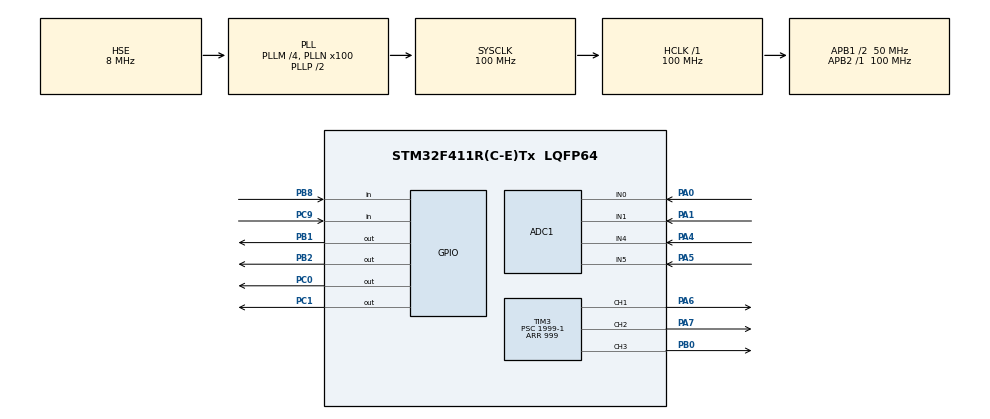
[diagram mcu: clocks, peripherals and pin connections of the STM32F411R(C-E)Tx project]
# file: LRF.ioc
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ADC1.Channel-0\#ChannelRegularConversion=ADC_CHANNEL_0
ADC1.Channel-1\#ChannelRegularConversion=ADC_CHANNEL_1
ADC1.Channel-2\#ChannelRegularConversion=ADC_CHANNEL_2
ADC1.Channel-3\#ChannelRegularConversion=ADC_CHANNEL_3
ADC1.ContinuousConvMode=ENABLE
ADC1.DMAContinuousRequests=ENABLE
ADC1.NbrOfConversion=4
ADC1.NbrOfConversionFlag=1
ADC1.Rank-0\#ChannelRegularConversion=1
ADC1.Rank-1\#ChannelRegularConversion=2
ADC1.Rank-2\#ChannelRegularConversion=3
ADC1.Rank-3\#ChannelRegularConversion=4
ADC1.SamplingTime-0\#ChannelRegularConversion=ADC_SAMPLETIME_15CYCLES
ADC1.SamplingTime-1\#ChannelRegularConversion=ADC_SAMPLETIME_15CYCLES
ADC1.SamplingTime-2\#ChannelRegularConversion=ADC_SAMPLETIME_15CYCLES
ADC1.SamplingTime-3\#ChannelRegularConversion=ADC_SAMPLETIME_15CYCLES
ADC1.master=1
Dma.ADC1.0.Direction=DMA_PERIPH_TO_MEMORY
Dma.ADC1.0.FIFOMode=DMA_FIFOMODE_DISABLE
Dma.ADC1.0.Instance=DMA2_Stream0
Dma.ADC1.0.MemDataAlignment=DMA_MDATAALIGN_HALFWORD
Dma.ADC1.0.MemInc=DMA_MINC_ENABLE
Dma.ADC1.0.Mode=DMA_CIRCULAR
Dma.ADC1.0.PeriphDataAlignment=DMA_PDATAALIGN_HALFWORD
Dma.ADC1.0.PeriphInc=DMA_PINC_DISABLE
Dma.ADC1.0.Priority=DMA_PRIORITY_LOW
Dma.Request0=ADC1
Mcu.Family=STM32F4
Mcu.Name=STM32F411R(C-E)Tx
Mcu.Package=LQFP64
NVIC.ADC_IRQn=true\:0\:0\:false\:false\:true\:true\:true\:true
NVIC.DMA2_Stream0_IRQn=true\:0\:0\:false\:false\:true\:false\:true\:true
NVIC.PriorityGroup=NVIC_PRIORITYGROUP_4
NVIC.TIM3_IRQn=true\:0\:0\:false\:false\:true\:true\:true\:true
PA0-WKUP.Signal=ADCx_IN0
PA1.Signal=ADCx_IN1
PA13.Mode=Serial_Wire
PA13.Signal=SYS_JTMS-SWDIO
PA14.Mode=Serial_Wire
PA14.Signal=SYS_JTCK-SWCLK
PA4.Signal=ADCx_IN4
PA5.Signal=ADCx_IN5
PA6.Signal=S_TIM3_CH1
PA7.Signal=S_TIM3_CH2
PB0.Signal=S_TIM3_CH3
PB1.Signal=GPIO_Output
PB2.Signal=GPIO_Output
PB8.GPIO_PuPd=GPIO_PULLUP
PB8.Signal=GPIO_Input
PC0.Signal=GPIO_Output
PC1.Signal=GPIO_Output
PC9.GPIO_PuPd=GPIO_PULLUP
PC9.Signal=GPIO_Input
PH0\ -\ OSC_IN.Mode=HSE-External-Oscillator
PH0\ -\ OSC_IN.Signal=RCC_OSC_IN
PH1\ -\ OSC_OUT.Mode=HSE-External-Oscillator
PH1\ -\ OSC_OUT.Signal=RCC_OSC_OUT
ProjectManager.HeapSize=0x200
ProjectManager.StackSize=0x400
ProjectManager.TargetToolchain=STM32CubeIDE
RCC.48MHZClocksFreq_Value=50000000
RCC.AHBFreq_Value=100000000
RCC.APB1CLKDivider=RCC_HCLK_DIV2
RCC.APB1Freq_Value=50000000
RCC.APB1TimFreq_Value=100000000
RCC.APB2Freq_Value=100000000
RCC.APB2TimFreq_Value=100000000
RCC.CortexFreq_Value=100000000
RCC.HCLKFreq_Value=100000000
RCC.HSE_VALUE=8000000
RCC.HSI_VALUE=16000000
RCC.LSE_VALUE=32768
RCC.PLLM=4
RCC.PLLN=100
RCC.PLLSourceVirtual=RCC_PLLSOURCE_HSE
RCC.SYSCLKFreq_VALUE=100000000
RCC.SYSCLKSource=RCC_SYSCLKSOURCE_PLLCLK
RCC.VCOOutputFreq_Value=200000000
SH.ADCx_IN0.0=ADC1_IN0,IN0
SH.ADCx_IN1.0=ADC1_IN1,IN1
SH.ADCx_IN4.0=ADC1_IN4,IN4
SH.ADCx_IN5.0=ADC1_IN5,IN5
SH.S_TIM3_CH1.0=TIM3_CH1,PWM Generation1 CH1
SH.S_TIM3_CH2.0=TIM3_CH2,PWM Generation2 CH2
SH.S_TIM3_CH3.0=TIM3_CH3,PWM Generation3 CH3
TIM3.Channel-PWM\ Generation1\ CH1=TIM_CHANNEL_1
TIM3.Channel-PWM\ Generation2\ CH2=TIM_CHANNEL_2
TIM3.Channel-PWM\ Generation3\ CH3=TIM_CHANNEL_3
TIM3.Period=999
TIM3.Prescaler=1999-1
board=custom

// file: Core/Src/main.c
/* USER CODE BEGIN Header */
/**
  ******************************************************************************
  * @file           : main.c
  * @brief          : Main program body
  ******************************************************************************
  * @attention
  *
  * Copyright (c) 2025 STMicroelectronics.
  * All rights reserved.
  *
  * This software is licensed under terms that can be found in the LICENSE file
  * in the root directory of this software component.
  * If no LICENSE file comes with this software, it is provided AS-IS.
  *
  ******************************************************************************
  */
/* USER CODE END Header */
#include "main.h"
#include "adc.h"
#include "dma.h"
#include "tim.h"
#include "gpio.h"

/* USER CODE BEGIN Includes */
#include "ir.h"
#include "motor.h"
#include "pid_motor.h"
/* USER CODE END Includes */

/* USER CODE BEGIN PV */
extern float pid_output_debug;  // main.c 상단에 추가
volatile uint8_t dbg_button_pressed = 0; // 0: 안눌림, 1: 눌림

/* USER CODE END PV */

void SystemClock_Config(void);
/* USER CODE BEGIN PFP */
// main.c
// main.c
void HAL_ADC_ConvCpltCallback(ADC_HandleTypeDef* hadc)
{
    if(hadc->Instance == hadc1.Instance)
        IR_IRQHandler();  // ir.c 함수 호출
}

/* USER CODE END PFP */

int main(void)
{

  /* MCU Configuration--------------------------------------------------------*/

  /* Reset of all peripherals, Initializes the Flash interface and the Systick. */
                                                          HAL_Init();

  /* Configure the system clock */
  SystemClock_Config();

  /* Initialize all configured peripherals */
  MX_GPIO_Init();
  MX_DMA_Init();
  MX_ADC1_Init();
  MX_TIM3_Init();
  /* USER CODE BEGIN 2 */
  IR_Init();
  Motor_Init();

  PID_Motor_Init();  // 변경된 초기화 함수 호출
  float ir_values[4] = {0}; // IR 거리 더미 배열

  /* USER CODE END 2 */

  /* Infinite loop */
  /* USER CODE BEGIN WHILE */
  while (1)
  {

	  IR_StartReadAll();

	    Turret_PID_Control(0.05f, ir_distance);
	    Motor_HandleInput();

HAL_Delay(5);

    /* USER CODE END WHILE */

  }
}

void SystemClock_Config(void)
{
  RCC_OscInitTypeDef RCC_OscInitStruct = {0};
  RCC_ClkInitTypeDef RCC_ClkInitStruct = {0};

  /** Configure the main internal regulator output voltage
  */
  __HAL_RCC_PWR_CLK_ENABLE();
  __HAL_PWR_VOLTAGESCALING_CONFIG(PWR_REGULATOR_VOLTAGE_SCALE1);

  /** Initializes the RCC Oscillators according to the specified parameters
  * in the RCC_OscInitTypeDef structure.
  */
  RCC_OscInitStruct.OscillatorType = RCC_OSCILLATORTYPE_HSE;
  RCC_OscInitStruct.HSEState = RCC_HSE_ON;
  RCC_OscInitStruct.PLL.PLLState = RCC_PLL_ON;
  RCC_OscInitStruct.PLL.PLLSource = RCC_PLLSOURCE_HSE;
  RCC_OscInitStruct.PLL.PLLM = 4;
  RCC_OscInitStruct.PLL.PLLN = 100;
  RCC_OscInitStruct.PLL.PLLP = RCC_PLLP_DIV2;
  RCC_OscInitStruct.PLL.PLLQ = 4;
  if (HAL_RCC_OscConfig(&RCC_OscInitStruct) != HAL_OK)
  {
    Error_Handler();
  }

  /** Initializes the CPU, AHB and APB buses clocks
  */
  RCC_ClkInitStruct.ClockType = RCC_CLOCKTYPE_HCLK|RCC_CLOCKTYPE_SYSCLK
                              |RCC_CLOCKTYPE_PCLK1|RCC_CLOCKTYPE_PCLK2;
  RCC_ClkInitStruct.SYSCLKSource = RCC_SYSCLKSOURCE_PLLCLK;
  RCC_ClkInitStruct.AHBCLKDivider = RCC_SYSCLK_DIV1;
  RCC_ClkInitStruct.APB1CLKDivider = RCC_HCLK_DIV2;
  RCC_ClkInitStruct.APB2CLKDivider = RCC_HCLK_DIV1;

  if (HAL_RCC_ClockConfig(&RCC_ClkInitStruct, FLASH_LATENCY_3) != HAL_OK)
  {
    Error_Handler();
  }
}

void Error_Handler(void)
{
  __disable_irq();
  while (1)
  {
  }
}
